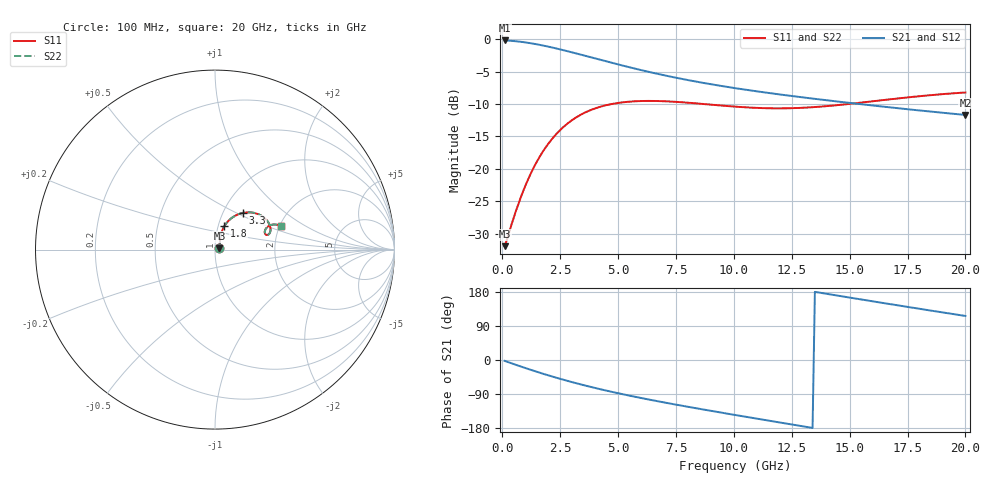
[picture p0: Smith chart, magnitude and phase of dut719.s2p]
! Touchstone file exported from HFSS 2024.1.0
!  File:  C:/UserFiles/LocalFiles/RDL_TSV_Batchsim/temp_RDL_TSV_719_1779889846.aedt
!  Generated:  10:07:46 PM May 27, 2026
!  Design:  RDL_TSV
!  Project:  temp_RDL_TSV_719_1779889846
!  Setup:  Setup1
!  Solution:  Sweep
! Variables:
!  dtsv = 10.15um
!  hbump = 3um
!  htsv = 69.08um
!  ldown = 648.09um
!  lrdl = 421.08um
!  p = 40
!  p1 = 59.87um
!  rhole = 10um
!  subl = 3628.59um
!  t = 450um
!  tdown = 3.87um
!  trdl = 2.16um
!  viad = 10um
!  wdown = 12.92um
!  wrdl = 26.78um
!  xbump = 18um
# GHz S MA R 50.000000
! Terminal data exported
! Port[1] = TM1_1_T1
! Port[2] = TM1_4_T1
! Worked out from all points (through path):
!   200 points, 100 MHz to 20 GHz, reference 50 ohm
!   highest |S21| = -0.22 dB at 100 MHz (marker M1); lowest = -11.7 dB at 20 GHz (marker M2)
!   group delay of S21, straight-line fit = 31.7 ps
!   lowest |S11| = -31.9 dB at 100 MHz (marker M3), VSWR 1.05, Z = 52.5 + j0.746 ohm
!   |S11| at or under -10 dB: start of sweep to 4.736 GHz; 8.676 GHz to 14.96 GHz (6.288 GHz wide, 53.2 % of centre)
!   |S22| runs from -31.9 to -8.2 dB; largest |S21 - S12| = 3.6e-14
!   S11 on the Smith chart (normalised r, x): 100 MHz: 1.05, +0.01; 1.8 GHz: 1.07, +0.28; 3.3 GHz: 1.23, +0.54; 20 GHz: 2.02, +0.62
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0.1  0.0254 16.2  0.9753 -2.2  0.9753 -2.2  0.0254 16.2
! Gamma 0 0 0 0
! Port Impedance 50 0 50 0
0.6  0.04805 55.9  0.9614 -13.0  0.9614 -13.0  0.04805 56.0
1  0.07441 66.3  0.942 -21.3  0.942 -21.3  0.0744 66.3
1.4  0.1058 69.3  0.9173 -29.3  0.9173 -29.3  0.1058 69.3
1.8  0.14 68.3  0.8885 -37.0  0.8885 -37.0  0.14 68.3
2.1  0.166 66.1  0.865 -42.6  0.865 -42.6  0.166 66.2
2.5  0.1993 62.2  0.8325 -49.7  0.8325 -49.7  0.1994 62.2
2.9  0.2296 57.6  0.7992 -56.5  0.7992 -56.5  0.2297 57.7
3.3  0.2561 52.9  0.7661 -63.0  0.7661 -63.0  0.2562 53.0
3.5  0.2677 50.6  0.7497 -66.2  0.7497 -66.2  0.2679 50.6
4.3  0.3034 41.8  0.6873 -78.1  0.6873 -78.1  0.3037 41.9
5.1  0.3239 34.3  0.6311 -89.0  0.6311 -89.0  0.3243 34.3
5.9  0.3327 28.1  0.582 -99.2  0.582 -99.2  0.3332 28.1
6.8  0.3328 22.7  0.5349 -109.9  0.5349 -109.9  0.3334 22.8
8.3  0.3204 17.2  0.4726 -126.6  0.4726 -126.6  0.321 17.3
10.1  0.3012 15.7  0.4175 -145.6  0.4175 -145.6  0.3019 15.7
11.7  0.2926 17.7  0.3801 -162.0  0.3801 -162.0  0.2932 17.7
13.4  0.2985 21.0  0.3479 -179.3  0.3479 -179.3  0.2991 21.1
15.1  0.3181 23.4  0.3207 163.7  0.3207 163.7  0.3186 23.4
16.7  0.3428 23.6  0.2983 147.9  0.2983 147.9  0.3433 23.7
18.3  0.367 22.3  0.2786 132.4  0.2786 132.4  0.3675 22.3
20  0.3877 19.7  0.2604 116.2  0.2604 116.2  0.3883 19.8
